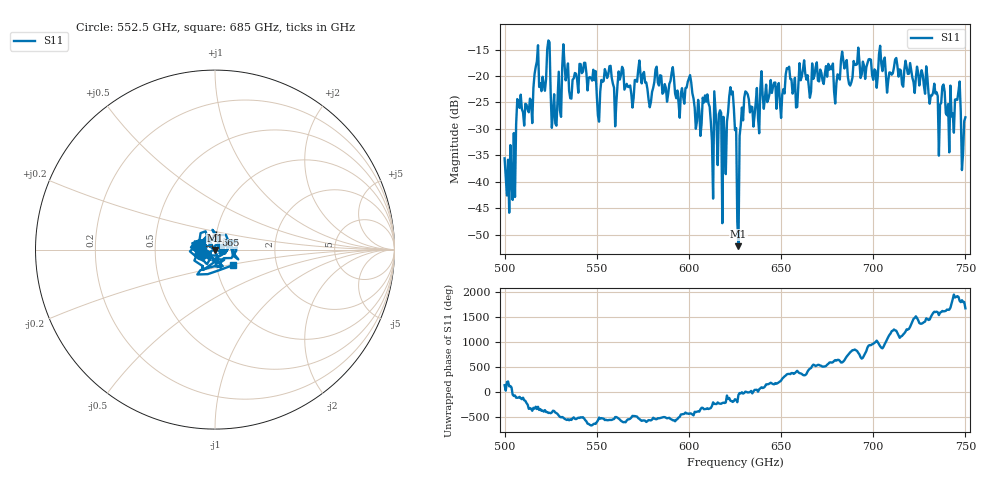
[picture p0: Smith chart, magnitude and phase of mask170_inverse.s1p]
!Created with skrf (http://scikit-rf.org).
# GHz S MA R 50.0
!freq magS11 angS11
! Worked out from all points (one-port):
!   401 points, 500 GHz to 750 GHz, reference 50 ohm
!   lowest |S11| = -52.1 dB at 626.9 GHz (marker M1), VSWR 1.00, Z = 50.1 - j0.203 ohm
!   |S11| at or under -10 dB: start of sweep to end of sweep
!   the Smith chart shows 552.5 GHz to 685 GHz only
!   S11 on the Smith chart (normalised r, x): 552.5 GHz: 0.84, -0.05; 665 GHz: 0.99, +0.16; 685 GHz: 1.20, -0.21
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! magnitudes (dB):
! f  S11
! 500 GHz  -35.5
! 503.1 GHz  -33.1
! 507.5 GHz  -24.9
! 513.8 GHz  -24.3
! 516.9 GHz  -18.3
! 520.6 GHz  -20.1
! 523.8 GHz  -13.3
! 526.9 GHz  -23.4
! 531.2 GHz  -18.3
! 552.5 GHz  -20.7
! 562.5 GHz  -20.7
! 593.8 GHz  -22.7
! 610 GHz  -23.5
! 611.9 GHz  -28.6
! 615 GHz  -29.5
! 619.4 GHz  -31.3
! 623.1 GHz  -23.5
! 625 GHz  -30.2
! 626.9 GHz  -52.1
! 631.2 GHz  -23.1
! 656.2 GHz  -23.3
! 665 GHz  -21.9
! 685 GHz  -17.5
! 687.5 GHz  -21.8
! 718.8 GHz  -19.6
! 742.5 GHz  -27.6
! 745.6 GHz  -24.5
! 750 GHz  -27.8
